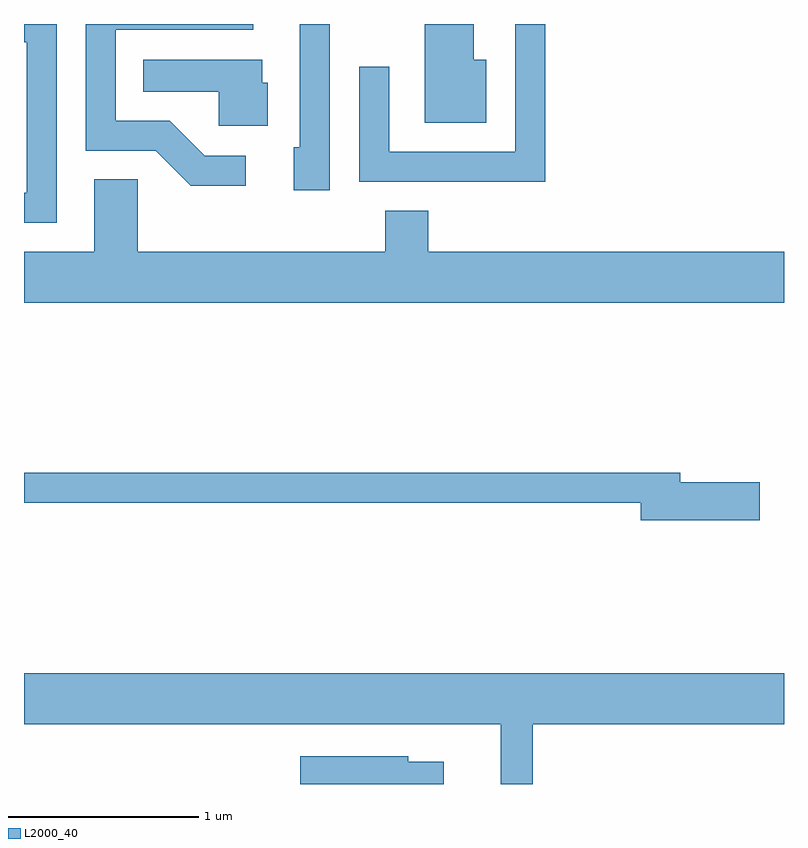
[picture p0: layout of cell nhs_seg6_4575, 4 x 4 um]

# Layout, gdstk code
import gdstk
lib = gdstk.Library(unit=1e-6, precision=1e-09)
def P(c, l, *ps):  # polygons
    for p in ps: c.add(gdstk.Polygon(p, *l))
L2000_40 = (2000, 40)

nhs_seg6_4575 = lib.new_cell('nhs_seg6_4575')
P(nhs_seg6_4575, L2000_40, [(328.354,1558.162),(328.196,1558.162),(328.196,1557.489),(327.534,1557.489),(327.534,1557.938),(327.376,1557.938),(327.376,1557.331),(328.354,1557.331)],
  [(326.778,1557.469),(326.562,1557.469),(326.377,1557.654),(326.094,1557.654),(326.094,1558.131),(326.818,1558.131),(326.818,1558.162),(325.936,1558.162),(325.936,1557.496),(326.304,1557.496),(326.489,1557.311),(326.778,1557.311)],
  [(328.044,1557.974),(327.979,1557.974),(327.979,1558.162),(327.721,1558.162),(327.721,1557.641),(328.044,1557.641)],
  [(325.784,1558.162),(325.611,1558.162),(325.611,1558.066),(325.626,1558.066),(325.626,1557.274),(325.611,1557.274),(325.611,1557.116),(325.784,1557.116)],
  [(327.219,1558.162),(327.061,1558.162),(327.061,1557.514),(327.031,1557.514),(327.031,1557.286),(327.219,1557.286)],
  [(326.894,1557.854),(326.864,1557.854),(326.864,1557.974),(326.238,1557.974),(326.238,1557.806),(326.636,1557.806),(326.636,1557.626),(326.894,1557.626)],
  [(329.611,1556.964),(327.739,1556.964),(327.739,1557.179),(327.511,1557.179),(327.511,1556.964),(326.209,1556.964),(326.209,1557.344),(325.981,1557.344),(325.981,1556.964),(325.611,1556.964),(325.611,1556.696),(329.611,1556.696)],
  [(329.484,1555.749),(329.064,1555.749),(329.064,1555.799),(325.611,1555.799),(325.611,1555.641),(328.856,1555.641),(328.856,1555.551),(329.484,1555.551)],
  [(328.289,1554.476),(329.611,1554.476),(329.611,1554.744),(325.611,1554.744),(325.611,1554.476),(328.121,1554.476),(328.121,1554.162),(328.289,1554.162)],
  [(327.819,1554.279),(327.634,1554.279),(327.634,1554.309),(327.066,1554.309),(327.066,1554.162),(327.819,1554.162)])

lib.write_gds('nhs_seg6_4575.gds')
